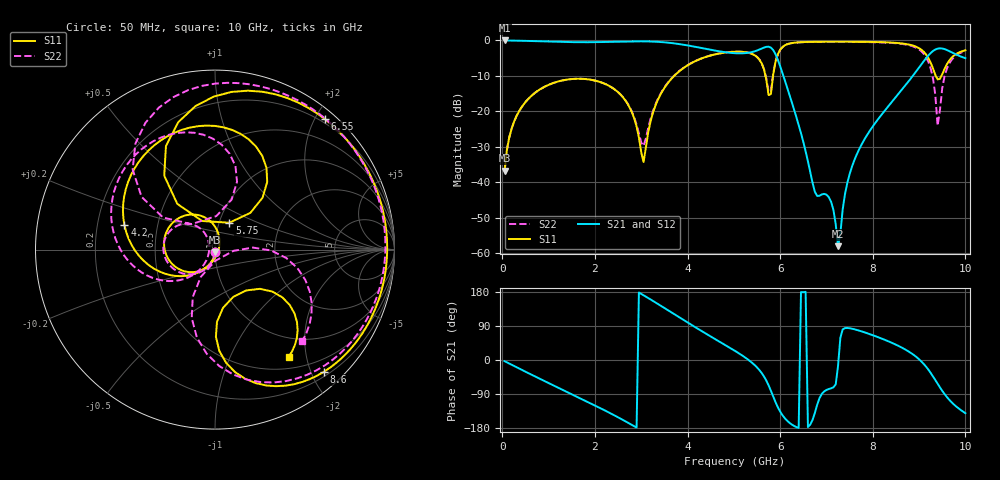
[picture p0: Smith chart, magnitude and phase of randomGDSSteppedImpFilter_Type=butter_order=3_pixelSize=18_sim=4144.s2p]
! freq	dB(S11)	phase(S11)	dB(S12)	phase(S12)
!  dB(S21)	phase(S21)	dB(S22)	phase(S22)
!S-par simulation data
#  GHz  S  DB  R 50
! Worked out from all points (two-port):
!   200 points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, 50 MHz to 10 GHz, reference 50 ohm
!   highest |S21| = -0.01 dB at 50 MHz (marker M1); lowest = -58.0 dB at 7.25 GHz (marker M2)
!   |S21| within 3 dB of the highest: start of sweep to 4.656 GHz; 5.463 GHz to 5.862 GHz (399 MHz wide, 7.05 % of centre) (the widest 2 of 3)
!   lowest |S11| = -36.8 dB at 50 MHz (marker M3), VSWR 1.03, Z = 49.9 - j1.45 ohm
!   |S11| at or under -10 dB: start of sweep to 3.713 GHz; 5.683 GHz to 5.847 GHz (163.1 MHz wide, 2.83 % of centre); 9.362 GHz to 9.483 GHz (121.2 MHz wide, 1.29 % of centre)
!   |S22| runs from -36.8 to -0.4 dB; largest |S21 - S12| = 0
!   S11 on the Smith chart (normalised r, x): 50 MHz: 1.00, -0.03; 4.2 GHz: 0.32, +0.12; 5.75 GHz: 1.12, +0.34; 6.55 GHz: 0.14, +2.13; 8.6 GHz: 0.27, -2.20; 10 GHz: 0.67, -1.69
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0.05  -36.77 -92.7  -0.01 -3.2  -0.01 -3.2  -36.75 -92.3
0.5  -17.39 -123.0  -0.12 -30.8  -0.12 -30.8  -17.39 -119.7
1.75  -10.84 158.1  -0.50 -105.0  -0.50 -105.0  -10.84 171.1
2.65  -16.78 94.8  -0.30 -161.2  -0.30 -161.2  -16.73 125.2
3.05  -34.28 -24.3  -0.26 170.9  -0.26 170.9  -29.75 -176.2
3.4  -15.66 -127.6  -0.43 144.9  -0.43 144.9  -15.46 -129.3
4.2  -5.64 164.9  -1.88 84.0  -1.88 84.0  -5.61 -179.5
5.05  -3.17 101.6  -3.62 22.2  -3.62 22.2  -3.17 122.9
5.55  -5.38 57.8  -2.58 -26.3  -2.58 -26.3  -5.35 81.3
5.75  -15.41 61.9  -1.77 -66.8  -1.77 -66.8  -14.55 87.5
6  -2.62 106.1  -7.26 -136.1  -7.26 -136.1  -2.63 126.9
6.55  -0.44 50.1  -31.29 179.8  -31.29 179.8  -0.48 70.7
6.7  -0.40 40.9  -40.17 -158.0  -40.17 -158.0  -0.44 61.1
7.1  -0.36 19.8  -45.51 -74.7  -45.51 -74.7  -0.40 38.1
7.25  -0.35 12.6  -58.04 -15.4  -58.04 -15.4  -0.40 30.1
7.55  -0.36 -1.0  -35.64 82.6  -35.64 82.6  -0.41 14.5
8.35  -0.57 -36.2  -18.34 48.7  -18.34 48.7  -0.66 -27.7
8.6  -0.80 -48.4  -14.38 34.5  -14.38 34.5  -0.93 -42.9
9.2  -4.95 -87.6  -4.25 -25.4  -4.25 -25.4  -6.01 -101.6
9.4  -10.99 -68.8  -2.31 -62.5  -2.31 -62.5  -24.06 -88.9
9.6  -6.73 -35.3  -2.70 -97.6  -2.70 -97.6  -7.97 -6.7
10  -2.79 -55.6  -5.00 -140.5  -5.00 -140.5  -3.04 -46.5
